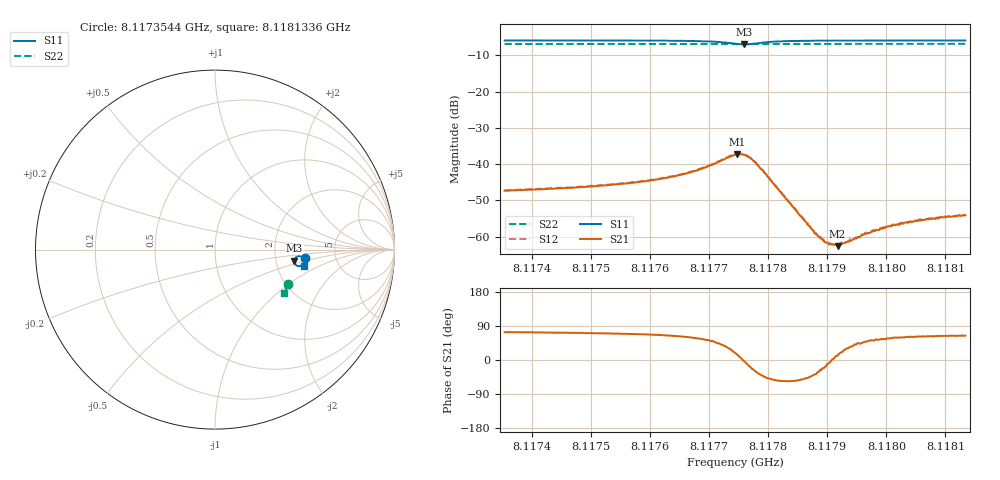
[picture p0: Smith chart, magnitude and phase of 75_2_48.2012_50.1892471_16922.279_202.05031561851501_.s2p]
#  HZ  S  RI  R  50.00
! Rohde & Schwarz Vector Network Analyzer
! Rohde-Schwarz,ZNB20-2Port,1311601062101988,3.16
! Created: UTC 3/20/2024, 11:39:20 AM
! freq[Hz]  re:S11  im:S11  re:S21  im:S21  re:S12  im:S12  re:S22  im:S22
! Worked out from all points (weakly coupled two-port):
!   401 points, 8.1173544 GHz to 8.1181336 GHz, reference 50 ohm
!   highest |S21| = -37.27 dB at 8.1177479 GHz (marker M1); lowest = -62.6 dB at 8.1179174 GHz (marker M2)
!   lowest |S11| = -7.0 dB at 8.1177596 GHz (marker M3), VSWR 2.61, Z = 127 - j19.4 ohm
!   |S11| at or under -10 dB: nowhere
!   |S22| runs from -6.9 to -6.9 dB; largest |S21 - S12| = 0.00054
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8.11735438e9  0.5035 -0.0452  0.00123 0.00412  0.00126 0.00419  0.4085 -0.1928
8.1174849e9  0.5016 -0.0572  0.00154 0.00456  0.00159 0.00464  0.4049 -0.2012
8.11756283e9  0.4997 -0.0656  0.00196 0.00505  0.00204 0.00513  0.4024 -0.2062
8.11761543e9  0.497 -0.0727  0.00253 0.00565  0.0026 0.00572  0.4008 -0.2096
8.11765245e9  0.4935 -0.0789  0.00329 0.00631  0.00343 0.00641  0.3996 -0.2121
8.11767777e9  0.4892 -0.084  0.0043 0.00688  0.00448 0.00695  0.3985 -0.2139
8.11774401e9  0.4482 -0.0834  0.0128 0.0044  0.013 0.00431  0.3948 -0.2172
8.11774791e9  0.445 -0.0788  0.0133 0.00333  0.0134 0.0032  0.3946 -0.2171
8.1177596e9  0.4412 -0.0613  0.0134 -0.000832  0.0136 -0.000927  0.3942 -0.2171
8.11776739e9  0.4454 -0.0495  0.0121 -0.00335  0.0122 -0.00335  0.3944 -0.217
8.11777518e9  0.4536 -0.0412  0.00999 -0.00474  0.0102 -0.00489  0.3945 -0.2171
8.11779272e9  0.4732 -0.0371  0.00563 -0.00534  0.00578 -0.00541  0.395 -0.2184
8.11787454e9  0.4975 -0.0607  0.00093 -0.000829  0.000964 -0.000873  0.3932 -0.2246
8.11788233e9  0.4979 -0.0621  0.000884 -0.000615  0.000895 -0.0006  0.393 -0.225
8.11789986e9  0.4982 -0.0654  0.000799 -0.000149  0.000817 -0.000173  0.3926 -0.2262
8.11790961e9  0.4985 -0.067  0.000785 3.73e-05  0.000784 3.3e-06  0.3922 -0.2269
8.1179174e9  0.4985 -0.0681  0.000725 0.000145  0.000773 0.000157  0.3921 -0.2274
8.11793104e9  0.4987 -0.0702  0.000719 0.000403  0.000748 0.00039  0.3914 -0.2282
8.1179661e9  0.4986 -0.0746  0.000727 0.000826  0.000735 0.000864  0.3903 -0.2304
8.11800507e9  0.4983 -0.0791  0.000763 0.00117  0.000767 0.00119  0.3889 -0.2331
8.11805377e9  0.4979 -0.0841  0.000778 0.00145  0.000773 0.00151  0.3874 -0.2359
8.11813365e9  0.4966 -0.0913  0.000856 0.00178  0.000876 0.00178  0.3846 -0.2411
